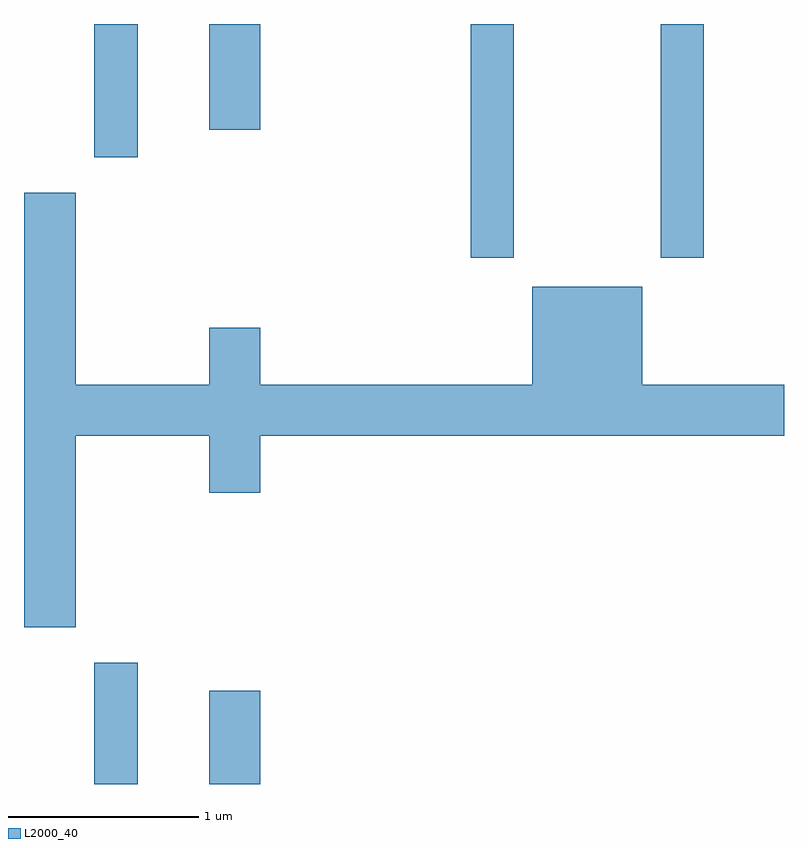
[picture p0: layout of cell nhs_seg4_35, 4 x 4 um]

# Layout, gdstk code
import gdstk
lib = gdstk.Library(unit=1e-6, precision=1e-09)
def R(c, l, rs):  # rectangles x0, y0, x1, y1
    for r in rs: c.add(gdstk.rectangle(r[:2], r[2:], *l))
def P(c, l, *ps):  # polygons
    for p in ps: c.add(gdstk.Polygon(p, *l))
L2000_40 = (2000, 40)

nhs_seg4_35 = lib.new_cell('nhs_seg4_35')
R(nhs_seg4_35, L2000_40, [(185.981,1323.982,186.209,1324.619), (186.586,1323.982,186.854,1324.474), (187.961,1326.751,188.189,1327.982), (188.961,1326.751,189.189,1327.982), (185.981,1327.281,186.209,1327.982), (186.586,1327.426,186.854,1327.982)])
P(nhs_seg4_35, L2000_40, [(185.884,1325.816),(186.586,1325.816),(186.586,1325.516),(186.854,1325.516),(186.854,1325.816),(189.611,1325.816),(189.611,1326.084),(188.864,1326.084),(188.864,1326.599),(188.286,1326.599),(188.286,1326.084),(186.854,1326.084),(186.854,1326.384),(186.586,1326.384),(186.586,1326.084),(185.884,1326.084),(185.884,1327.094),(185.611,1327.094),(185.611,1324.806),(185.884,1324.806)])

lib.write_gds('nhs_seg4_35.gds')
